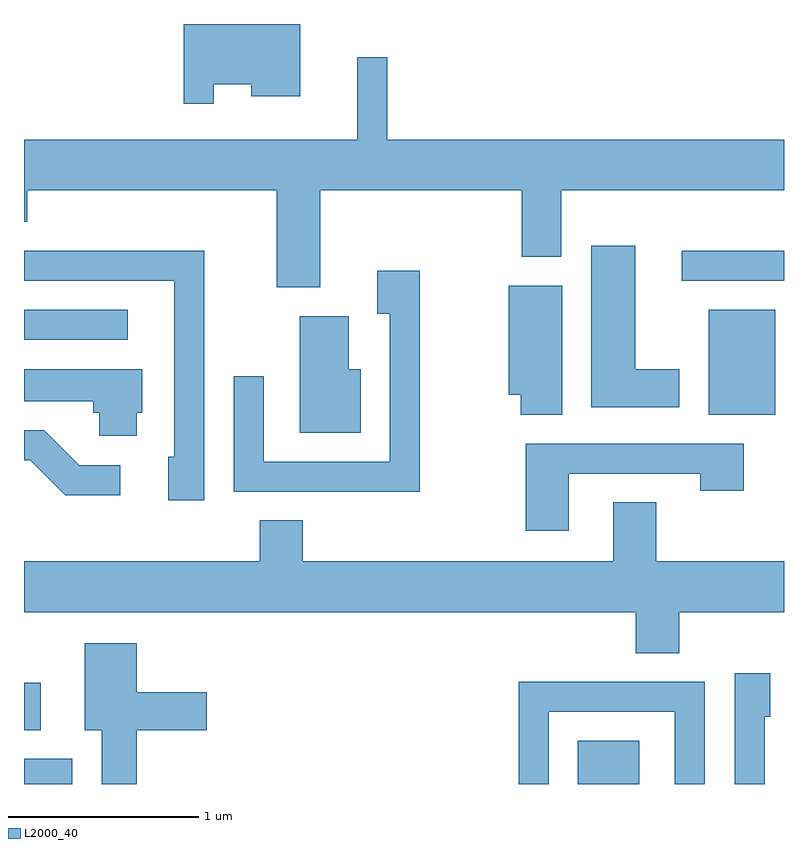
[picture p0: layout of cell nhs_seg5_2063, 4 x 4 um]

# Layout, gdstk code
import gdstk
lib = gdstk.Library(unit=1e-6, precision=1e-09)
def R(c, l, rs):  # rectangles x0, y0, x1, y1
    for r in rs: c.add(gdstk.rectangle(r[:2], r[2:], *l))
def P(c, l, *ps):  # polygons
    for p in ps: c.add(gdstk.Polygon(p, *l))
L2000_40 = (2000, 40)

nhs_seg5_2063 = lib.new_cell('nhs_seg5_2063')
R(nhs_seg5_2063, L2000_40, [(245.611,1498.072,245.864,1498.204), (248.526,1498.072,248.849,1498.299), (245.611,1498.356,245.699,1498.604), (249.216,1500.016,249.564,1500.569), (245.611,1500.411,246.158,1500.569), (249.073,1500.721,249.611,1500.879)])
P(nhs_seg5_2063, L2000_40, [(246.609,1501.756),(246.806,1501.756),(246.806,1501.691),(247.064,1501.691),(247.064,1502.072),(246.451,1502.072),(246.451,1501.653),(246.609,1501.653)],
  [(247.169,1501.196),(248.231,1501.196),(248.231,1500.846),(248.439,1500.846),(248.439,1501.196),(249.611,1501.196),(249.611,1501.464),(247.524,1501.464),(247.524,1501.898),(247.366,1501.898),(247.366,1501.464),(245.611,1501.464),(245.611,1501.031),(245.629,1501.031),(245.629,1501.196),(246.941,1501.196),(246.941,1500.686),(247.169,1500.686)],
  [(249.059,1500.254),(248.829,1500.254),(248.829,1500.904),(248.596,1500.904),(248.596,1500.056),(249.059,1500.056)],
  [(246.559,1500.879),(245.611,1500.879),(245.611,1500.721),(246.401,1500.721),(246.401,1499.794),(246.371,1499.794),(246.371,1499.566),(246.559,1499.566)],
  [(247.694,1500.774),(247.471,1500.774),(247.471,1500.546),(247.536,1500.546),(247.536,1499.769),(246.874,1499.769),(246.874,1500.218),(246.716,1500.218),(246.716,1499.611),(247.694,1499.611)],
  [(248.444,1500.694),(248.161,1500.694),(248.161,1500.121),(248.226,1500.121),(248.226,1500.016),(248.444,1500.016)],
  [(247.384,1500.254),(247.319,1500.254),(247.319,1500.534),(247.061,1500.534),(247.061,1499.921),(247.384,1499.921)],
  [(246.204,1500.026),(246.234,1500.026),(246.234,1500.254),(245.611,1500.254),(245.611,1500.086),(245.976,1500.086),(245.976,1500.026),(246.006,1500.026),(246.006,1499.906),(246.204,1499.906)],
  [(246.118,1499.749),(245.902,1499.749),(245.717,1499.934),(245.611,1499.934),(245.611,1499.776),(245.644,1499.776),(245.829,1499.591),(246.118,1499.591)],
  [(248.479,1499.706),(249.171,1499.706),(249.171,1499.616),(249.399,1499.616),(249.399,1499.864),(248.251,1499.864),(248.251,1499.406),(248.479,1499.406)],
  [(249.059,1498.976),(249.611,1498.976),(249.611,1499.244),(248.939,1499.244),(248.939,1499.554),(248.711,1499.554),(248.711,1499.244),(247.079,1499.244),(247.079,1499.459),(246.851,1499.459),(246.851,1499.244),(245.611,1499.244),(245.611,1498.976),(248.831,1498.976),(248.831,1498.761),(249.059,1498.761)],
  [(246.204,1498.356),(246.574,1498.356),(246.574,1498.554),(246.204,1498.554),(246.204,1498.814),(245.931,1498.814),(245.931,1498.356),(246.021,1498.356),(246.021,1498.072),(246.204,1498.072)],
  [(249.509,1498.426),(249.539,1498.426),(249.539,1498.654),(249.351,1498.654),(249.351,1498.072),(249.509,1498.072)],
  [(248.374,1498.451),(249.036,1498.451),(249.036,1498.072),(249.194,1498.072),(249.194,1498.609),(248.216,1498.609),(248.216,1498.072),(248.374,1498.072)])

lib.write_gds('nhs_seg5_2063.gds')
